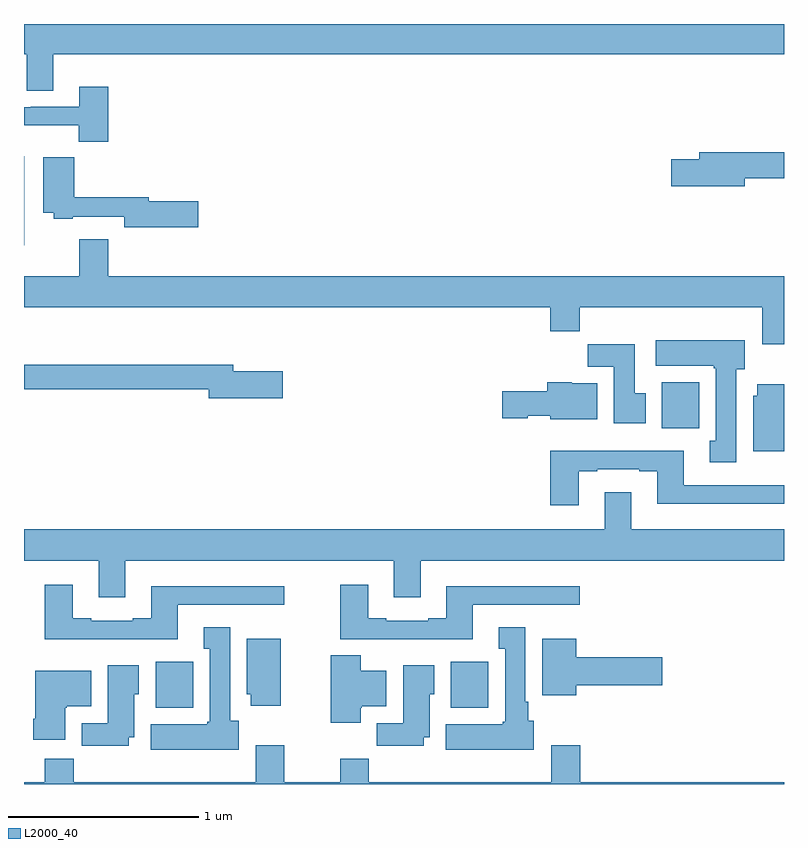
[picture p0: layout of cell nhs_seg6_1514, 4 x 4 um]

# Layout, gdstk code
import gdstk
lib = gdstk.Library(unit=1e-6, precision=1e-09)
def R(c, l, rs):  # rectangles x0, y0, x1, y1
    for r in rs: c.add(gdstk.rectangle(r[:2], r[2:], *l))
def P(c, l, *ps):  # polygons
    for p in ps: c.add(gdstk.Polygon(p, *l))
L2000_40 = (2000, 40)

nhs_seg6_1514 = lib.new_cell('nhs_seg6_1514')
R(nhs_seg6_1514, L2000_40, [(203.693,939.902,203.89,940.144), (205.247,939.902,205.444,940.144), (206.357,941.372,206.554,941.614), (203,942.336,203.002,942.805)])
P(nhs_seg6_1514, L2000_40, [(203.155,943.34),(207,943.34),(207,943.5),(203,943.5),(203,943.34),(203.015,943.34),(203.015,943.15),(203.155,943.15)],
  [(203.444,943.171),(203.291,943.171),(203.291,943.065),(203.035,943.065),(203.035,943.062),(203,943.062),(203,942.966),(203.289,942.966),(203.289,942.881),(203.444,942.881)],
  [(206.794,942.688),(207,942.688),(207,942.824),(206.555,942.824),(206.555,942.788),(206.406,942.788),(206.406,942.646),(206.794,942.646)],
  [(203.917,942.566),(203.656,942.566),(203.656,942.587),(203.264,942.587),(203.264,942.799),(203.102,942.799),(203.102,942.506),(203.157,942.506),(203.157,942.474),(203.257,942.474),(203.257,942.486),(203.528,942.486),(203.528,942.431),(203.917,942.431)],
  [(207,942.172),(203.444,942.172),(203.444,942.367),(203.291,942.367),(203.291,942.172),(203,942.172),(203,942.008),(205.769,942.008),(205.769,941.884),(205.925,941.884),(205.925,942.008),(206.885,942.008),(206.885,941.814),(207,941.814)],
  [(206.749,941.682),(206.794,941.682),(206.794,941.836),(206.325,941.836),(206.325,941.702),(206.629,941.702),(206.629,941.689),(206.642,941.689),(206.642,941.306),(206.609,941.306),(206.609,941.193),(206.749,941.193)],
  [(206.272,941.556),(206.215,941.556),(206.215,941.815),(205.966,941.815),(205.966,941.696),(206.105,941.696),(206.105,941.4),(206.272,941.4)],
  [(204.361,941.673),(204.1,941.673),(204.1,941.707),(203,941.707),(203,941.578),(203.972,941.578),(203.972,941.531),(204.361,941.531)],
  [(206.017,941.608),(205.884,941.608),(205.884,941.614),(205.754,941.614),(205.754,941.568),(205.518,941.568),(205.518,941.426),(205.65,941.426),(205.65,941.438),(205.77,941.438),(205.77,941.42),(206.017,941.42)],
  [(207,941.605),(206.858,941.605),(206.858,941.544),(206.837,941.544),(206.837,941.252),(207,941.252)],
  [(205.921,941.145),(206.017,941.145),(206.017,941.157),(206.237,941.157),(206.237,941.145),(206.333,941.145),(206.333,940.976),(207,940.976),(207,941.073),(206.473,941.073),(206.473,941.254),(205.769,941.254),(205.769,940.968),(205.921,940.968)],
  [(203.533,940.676),(204.947,940.676),(204.947,940.482),(205.087,940.482),(205.087,940.676),(207,940.676),(207,940.84),(206.197,940.84),(206.197,941.035),(206.057,941.035),(206.057,940.84),(203,940.84),(203,940.676),(203.393,940.676),(203.393,940.482),(203.533,940.482)],
  [(205.363,940.443),(205.924,940.443),(205.924,940.54),(205.223,940.54),(205.223,940.372),(205.127,940.372),(205.127,940.359),(204.907,940.359),(204.907,940.372),(204.811,940.372),(204.811,940.549),(204.664,940.549),(204.664,940.263),(204.903,940.263),(204.903,940.262),(205.363,940.262)],
  [(203.809,940.443),(204.37,940.443),(204.37,940.54),(203.669,940.54),(203.669,940.372),(203.573,940.372),(203.573,940.359),(203.353,940.359),(203.353,940.372),(203.257,940.372),(203.257,940.549),(203.11,940.549),(203.11,940.262),(203.809,940.262)],
  [(205.684,939.834),(205.654,939.834),(205.654,939.934),(205.639,939.934),(205.639,940.324),(205.499,940.324),(205.499,940.211),(205.532,940.211),(205.532,939.828),(205.519,939.828),(205.519,939.814),(205.22,939.814),(205.22,939.68),(205.684,939.68)],
  [(204.13,939.834),(204.085,939.834),(204.085,940.324),(203.945,940.324),(203.945,940.211),(203.978,940.211),(203.978,939.828),(203.965,939.828),(203.965,939.814),(203.666,939.814),(203.666,939.68),(204.13,939.68)],
  [(204.352,940.264),(204.173,940.264),(204.173,939.972),(204.194,939.972),(204.194,939.912),(204.352,939.912)],
  [(205.906,940.019),(206.359,940.019),(206.359,940.166),(205.906,940.166),(205.906,940.264),(205.727,940.264),(205.727,939.968),(205.906,939.968)],
  [(204.772,939.902),(204.778,939.902),(204.778,939.908),(204.907,939.908),(204.907,940.096),(204.772,940.096),(204.772,940.178),(204.614,940.178),(204.614,939.822),(204.772,939.822)],
  [(205.105,939.746),(205.135,939.746),(205.135,939.972),(205.159,939.972),(205.159,940.126),(204.995,940.126),(204.995,939.82),(204.856,939.82),(204.856,939.702),(205.105,939.702)],
  [(203.551,939.746),(203.581,939.746),(203.581,939.972),(203.605,939.972),(203.605,940.126),(203.441,940.126),(203.441,939.82),(203.303,939.82),(203.303,939.702),(203.551,939.702)],
  [(203.218,939.902),(203.224,939.902),(203.224,939.908),(203.353,939.908),(203.353,940.096),(203.06,940.096),(203.06,939.844),(203.048,939.844),(203.048,939.732),(203.218,939.732)],
  [(207,939.508),(205.928,939.508),(205.928,939.703),(205.775,939.703),(205.775,939.508),(204.815,939.508),(204.815,939.632),(204.664,939.632),(204.664,939.508),(204.369,939.508),(204.369,939.703),(204.221,939.703),(204.221,939.508),(203.261,939.508),(203.261,939.632),(203.11,939.632),(203.11,939.508),(203,939.508),(203,939.5),(207,939.5)])

lib.write_gds('nhs_seg6_1514.gds')
